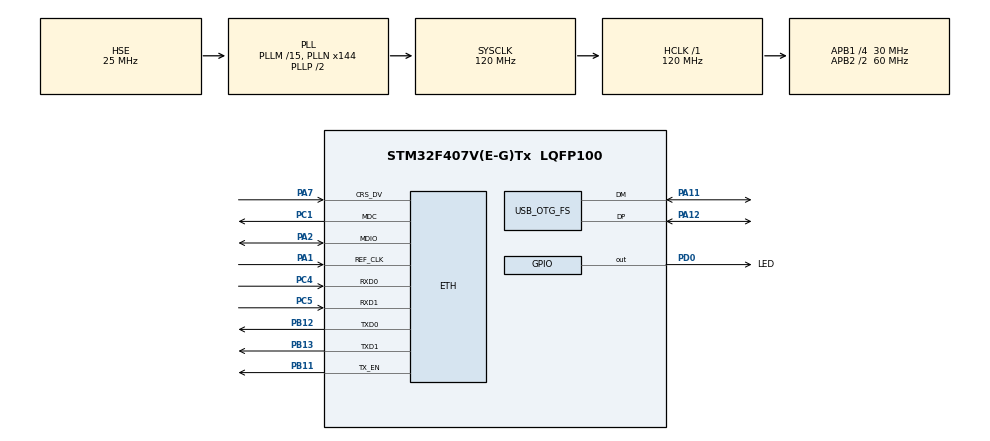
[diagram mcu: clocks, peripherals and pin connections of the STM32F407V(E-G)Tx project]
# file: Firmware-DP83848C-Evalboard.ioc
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Mcu.Family=STM32F4
ETH.AutoNegotiation=ETH_AUTONEGOTIATION_DISABLE
USB_DEVICE.CLASS_NAME_FS=CDC
PH0-OSC_IN.Signal=RCC_OSC_IN
RCC.CortexFreq_Value=120000000
PA7.Mode=RMII
TIM3.AutoReloadPreload=TIM_AUTORELOAD_PRELOAD_ENABLE
USB_DEVICE.VirtualModeFS=Cdc_FS
PC4.Signal=ETH_RXD0
ETH.MACAddr=00\:80\:E1\:00\:00\:00
ETH.Speed=ETH_SPEED_10M
PD0.GPIO_Label=LED
PA11.Mode=Device_Only
USB_DEVICE.VirtualMode-CDC_FS=Cdc
LWIP.LWIP_DHCP=1
PC5.Mode=RMII
RCC.APB1CLKDivider=RCC_HCLK_DIV4
PB11.Signal=ETH_TX_EN
PB13.Signal=ETH_TXD1
RCC.SYSCLKSource=RCC_SYSCLKSOURCE_PLLCLK
ProjectManager.StackSize=0x400
VP_LWIP_VS_Enabled.Mode=Enabled
LWIP.GATEWAY_ADDRESS=192.168.000.001
LWIP.NETMASK_ADDRESS=255.255.255.000
LWIP.LWIP_HTTPD=0
PA13.Signal=SYS_JTMS-SWDIO
PA12.Signal=USB_OTG_FS_DP
ETH.PHY_Name_RMII=DP83848_PHY_ADDRESS
PB11.Mode=RMII
ProjectManager.TargetToolchain=STM32CubeIDE
RCC.HCLKFreq_Value=120000000
VP_USB_DEVICE_VS_USB_DEVICE_CDC_FS.Mode=CDC_FS
RCC.APB2TimFreq_Value=120000000
TIM3.Period=10000
PD0.Signal=GPIO_Output
RCC.LSE_VALUE=32768
PA1.Signal=ETH_REF_CLK
RCC.AHBFreq_Value=120000000
PH0-OSC_IN.Mode=HSE-External-Oscillator
NVIC.ETH_IRQn=true\:0\:0\:false\:false\:true\:true\:true
RCC.HSE_VALUE=25000000
board=custom
RCC.VCOOutputFreq_Value=240000000
NVIC.TIM3_IRQn=true\:0\:0\:false\:false\:true\:true\:true
RCC.APB2Freq_Value=60000000
PA1.Mode=RMII
PA14.Mode=Serial_Wire
TIM3.Prescaler=6000
PH1-OSC_OUT.Signal=RCC_OSC_OUT
PA13.Mode=Serial_Wire
Mcu.Name=STM32F407V(E-G)Tx
PA2.Signal=ETH_MDIO
PH1-OSC_OUT.Mode=HSE-External-Oscillator
RCC.48MHZClocksFreq_Value=48000000
NVIC.ETH_WKUP_IRQn=true\:0\:0\:false\:false\:true\:true\:true
RCC.SYSCLKFreq_VALUE=120000000
Mcu.Package=LQFP100
ETH.MediaInterface=ETH_MEDIA_INTERFACE_RMII
PB12.Mode=RMII
PA12.Mode=Device_Only
NVIC.OTG_FS_IRQn=true\:0\:0\:false\:false\:true\:true\:true
PA11.Signal=USB_OTG_FS_DM
PA14.Signal=SYS_JTCK-SWCLK
USB_OTG_FS.VirtualMode=Device_Only
ProjectManager.HeapSize=0x200
LWIP.Version=v2.1.2_Cube
RCC.HSI_VALUE=16000000
RCC.PLLQ=5
NVIC.PriorityGroup=NVIC_PRIORITYGROUP_4
RCC.APB2CLKDivider=RCC_HCLK_DIV2
RCC.PLLM=15
RCC.PLLN=144
RCC.APB1TimFreq_Value=60000000
PA2.Mode=RMII
PC5.Signal=ETH_RXD1
PB13.Mode=RMII
TIM3.TIM_MasterOutputTrigger=TIM_TRGO_RESET
RCC.APB1Freq_Value=30000000
VP_TIM3_VS_ClockSourceINT.Mode=Internal
PC1.Signal=ETH_MDC
PB12.Signal=ETH_TXD0
PC4.Mode=RMII
LWIP.IP_ADDRESS=192.168.000.100
PC1.Mode=RMII
PA7.Signal=ETH_CRS_DV

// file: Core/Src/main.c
/* USER CODE BEGIN Header */
/**
  ******************************************************************************
  * @file           : main.c
  * @brief          : Main program body
  ******************************************************************************
  * @attention
  *
  * <h2><center>&copy; Copyright (c) 2021 STMicroelectronics.
  * All rights reserved.</center></h2>
  *
  * This software component is licensed by ST under BSD 3-Clause license,
  * the "License"; You may not use this file except in compliance with the
  * License. You may obtain a copy of the License at:
  *                        opensource.org/licenses/BSD-3-Clause
  *
  ******************************************************************************
  */
/* USER CODE END Header */
#include "main.h"
#include "lwip.h"
#include "usb_device.h"

/* USER CODE BEGIN Includes */
#include "lwip/apps/mqtt.h"
#include "usbd_cdc_if.h"

/* USER CODE END Includes */

TIM_HandleTypeDef htim3;

/* USER CODE BEGIN PV */

mqtt_client_t *client;
char txBuf[100];

/* USER CODE END PV */

void SystemClock_Config(void);
static void MX_GPIO_Init(void);
static void MX_TIM3_Init(void);

/* USER CODE BEGIN 0 */

static int inpub_id;

static void mqtt_incoming_data_cb(void *arg, const u8_t *data, u16_t len, u8_t flags)
{
  sprintf(txBuf, "Incoming publish payload with length %d, flags %u\n", len, (unsigned int)flags);
  CDC_Transmit_FS(txBuf, strlen(txBuf));

  if(flags & MQTT_DATA_FLAG_LAST) {
    /* Last fragment of payload received (or whole part if payload fits receive buffer
       See MQTT_VAR_HEADER_BUFFER_LEN)  */

    /* Call function or do action depending on reference, in this case inpub_id */
    if(inpub_id == 0) {
      /* Don't trust the publisher, check zero termination */
      if(data[len-1] == 0) {
        sprintf(txBuf, "mqtt_incoming_data_cb: %s\n", (const char *)data);
        CDC_Transmit_FS(txBuf, strlen(txBuf));
      }
    } else if(inpub_id == 1) {
      /* Call an 'A' function... */
    } else {
      sprintf(txBuf, "mqtt_incoming_data_cb: Ignoring payload...\n");
      CDC_Transmit_FS(txBuf, strlen(txBuf));
    }
  } else {
    /* Handle fragmented payload, store in buffer, write to file or whatever */
  }
}

static void mqtt_incoming_publish_cb(void *arg, const char *topic, u32_t tot_len)
{
  sprintf(txBuf, "Incoming publish at topic %s with total length %u\n", topic, (unsigned int)tot_len);
  CDC_Transmit_FS(txBuf, strlen(txBuf));

  /* Decode topic string into a user defined reference */
  if(strcmp(topic, "test") == 0) {
    inpub_id = 0;
  } else if(topic[0] == 'A') {
    /* All topics starting with 'A' might be handled at the same way */
    inpub_id = 1;
  } else {
    /* For all other topics */
    inpub_id = 2;
  }
}

static void mqtt_sub_request_cb(void *arg, err_t result)
{
  /* Just print the result code here for simplicity,
     normal behaviour would be to take some action if subscribe fails like
     notifying user, retry subscribe or disconnect from server */
  sprintf(txBuf, "Subscribe result: %d\n", result);
  CDC_Transmit_FS(txBuf, strlen(txBuf));
}

static void mqtt_connection_cb(mqtt_client_t *client, void *arg, mqtt_connection_status_t status)
{
  err_t err;
  if(status == MQTT_CONNECT_ACCEPTED) {
    sprintf(txBuf, "mqtt_connection_cb: Successfully connected\n");
	CDC_Transmit_FS(txBuf, strlen(txBuf));

    /* Setup callback for incoming publish requests */
    mqtt_set_inpub_callback(client, mqtt_incoming_publish_cb, mqtt_incoming_data_cb, arg);

    /* Subscribe to a topic named "subtopic" with QoS level 1, call mqtt_sub_request_cb with result */
    err = mqtt_subscribe(client, "moo", 1, mqtt_sub_request_cb, arg);

    if(err != ERR_OK) {
      sprintf(txBuf, "mqtt_subscribe return: %d\n", err);
      CDC_Transmit_FS(txBuf, strlen(txBuf));
    }
  } else {
    sprintf(txBuf, "mqtt_connection_cb: Disconnected, reason: %d\n", status);
	CDC_Transmit_FS(txBuf, strlen(txBuf));

    /* Its more nice to be connected, so try to reconnect */
    example_do_connect(client);
  }
}

void example_do_connect(mqtt_client_t *client)
{
  struct mqtt_connect_client_info_t ci;
  err_t err;
  ip_addr_t broker;
  IP4_ADDR(&broker ,192,168,0,21);

  /* Setup an empty client info structure */
  memset(&ci, 0, sizeof(ci));

  /* Minimal amount of information required is client identifier, so set it here */
  ci.client_id = "lwip_test";

  /* Initiate client and connect to server, if this fails immediately an error code is returned
     otherwise mqtt_connection_cb will be called with connection result after attempting
     to establish a connection with the server.
     For now MQTT version 3.1.1 is always used */

  err = mqtt_client_connect(client, &broker, 1883, mqtt_connection_cb, 0, &ci);

  /* For now just print the result code if something goes wrong */
  if(err != ERR_OK) {
    sprintf(txBuf, "mqtt_connect return %d\n", err);
	CDC_Transmit_FS(txBuf, strlen(txBuf));
  }
}

/* Called when publish is complete either with sucess or failure */
static void mqtt_pub_request_cb(void *arg, err_t result)
{
  if(result != ERR_OK) {
    sprintf(txBuf, "Publish result: %d\n", result);
    CDC_Transmit_FS(txBuf, strlen(txBuf));
  }
}

void example_publish(mqtt_client_t *client, void *arg)
{
  const char *pub_payload= "Moobert sagt moo!";
  err_t err;
  u8_t qos = 2; /* 0 1 or 2, see MQTT specification */
  u8_t retain = 0; /* No don't retain such crappy payload... */
  err = mqtt_publish(client, "test", pub_payload, strlen(pub_payload), qos, retain, mqtt_pub_request_cb, arg);
  if(err != ERR_OK) {
    printf("Publish err: %d\n", err);
  }
}

void HAL_TIM_PeriodElapsedCallback(TIM_HandleTypeDef *htim)
{
	if (htim->Instance==TIM3) {
		HAL_GPIO_TogglePin(LED_GPIO_Port, LED_Pin);
		example_do_connect(client);
		example_publish(client, NULL);
	}
}

/* USER CODE END 0 */

int main(void)
{

  /* MCU Configuration--------------------------------------------------------*/

  /* Reset of all peripherals, Initializes the Flash interface and the Systick. */
  HAL_Init();

  /* Configure the system clock */
  SystemClock_Config();

  /* Initialize all configured peripherals */
  MX_GPIO_Init();
  MX_LWIP_Init();
  MX_TIM3_Init();
  MX_USB_DEVICE_Init();
  /* USER CODE BEGIN 2 */

  HAL_TIM_Base_Start_IT(&htim3);

  client = mqtt_client_new();
  example_do_connect(client);

  /* USER CODE END 2 */

  /* Infinite loop */
  while (1)
  {

    /* USER CODE BEGIN 3 */

	  MX_LWIP_Process();

  }
  /* USER CODE END 3 */
}

void SystemClock_Config(void)
{
  RCC_OscInitTypeDef RCC_OscInitStruct = {0};
  RCC_ClkInitTypeDef RCC_ClkInitStruct = {0};

  /** Configure the main internal regulator output voltage
  */
  __HAL_RCC_PWR_CLK_ENABLE();
  __HAL_PWR_VOLTAGESCALING_CONFIG(PWR_REGULATOR_VOLTAGE_SCALE1);
  /** Initializes the RCC Oscillators according to the specified parameters
  * in the RCC_OscInitTypeDef structure.
  */
  RCC_OscInitStruct.OscillatorType = RCC_OSCILLATORTYPE_HSE;
  RCC_OscInitStruct.HSEState = RCC_HSE_ON;
  RCC_OscInitStruct.PLL.PLLState = RCC_PLL_ON;
  RCC_OscInitStruct.PLL.PLLSource = RCC_PLLSOURCE_HSE;
  RCC_OscInitStruct.PLL.PLLM = 15;
  RCC_OscInitStruct.PLL.PLLN = 144;
  RCC_OscInitStruct.PLL.PLLP = RCC_PLLP_DIV2;
  RCC_OscInitStruct.PLL.PLLQ = 5;
  if (HAL_RCC_OscConfig(&RCC_OscInitStruct) != HAL_OK)
  {
    Error_Handler();
  }
  /** Initializes the CPU, AHB and APB buses clocks
  */
  RCC_ClkInitStruct.ClockType = RCC_CLOCKTYPE_HCLK|RCC_CLOCKTYPE_SYSCLK
                              |RCC_CLOCKTYPE_PCLK1|RCC_CLOCKTYPE_PCLK2;
  RCC_ClkInitStruct.SYSCLKSource = RCC_SYSCLKSOURCE_PLLCLK;
  RCC_ClkInitStruct.AHBCLKDivider = RCC_SYSCLK_DIV1;
  RCC_ClkInitStruct.APB1CLKDivider = RCC_HCLK_DIV4;
  RCC_ClkInitStruct.APB2CLKDivider = RCC_HCLK_DIV2;

  if (HAL_RCC_ClockConfig(&RCC_ClkInitStruct, FLASH_LATENCY_3) != HAL_OK)
  {
    Error_Handler();
  }
}

static void MX_TIM3_Init(void)
{

  TIM_ClockConfigTypeDef sClockSourceConfig = {0};
  TIM_MasterConfigTypeDef sMasterConfig = {0};

  htim3.Instance = TIM3;
  htim3.Init.Prescaler = 6000;
  htim3.Init.CounterMode = TIM_COUNTERMODE_UP;
  htim3.Init.Period = 10000;
  htim3.Init.ClockDivision = TIM_CLOCKDIVISION_DIV1;
  htim3.Init.AutoReloadPreload = TIM_AUTORELOAD_PRELOAD_ENABLE;
  if (HAL_TIM_Base_Init(&htim3) != HAL_OK)
  {
    Error_Handler();
  }
  sClockSourceConfig.ClockSource = TIM_CLOCKSOURCE_INTERNAL;
  if (HAL_TIM_ConfigClockSource(&htim3, &sClockSourceConfig) != HAL_OK)
  {
    Error_Handler();
  }
  sMasterConfig.MasterOutputTrigger = TIM_TRGO_RESET;
  sMasterConfig.MasterSlaveMode = TIM_MASTERSLAVEMODE_DISABLE;
  if (HAL_TIMEx_MasterConfigSynchronization(&htim3, &sMasterConfig) != HAL_OK)
  {
    Error_Handler();
  }

}

static void MX_GPIO_Init(void)
{
  GPIO_InitTypeDef GPIO_InitStruct = {0};

  /* GPIO Ports Clock Enable */
  __HAL_RCC_GPIOH_CLK_ENABLE();
  __HAL_RCC_GPIOC_CLK_ENABLE();
  __HAL_RCC_GPIOA_CLK_ENABLE();
  __HAL_RCC_GPIOB_CLK_ENABLE();
  __HAL_RCC_GPIOD_CLK_ENABLE();

  /*Configure GPIO pin Output Level */
  HAL_GPIO_WritePin(LED_GPIO_Port, LED_Pin, GPIO_PIN_RESET);

  /*Configure GPIO pin : LED_Pin */
  GPIO_InitStruct.Pin = LED_Pin;
  GPIO_InitStruct.Mode = GPIO_MODE_OUTPUT_PP;
  GPIO_InitStruct.Pull = GPIO_NOPULL;
  GPIO_InitStruct.Speed = GPIO_SPEED_FREQ_LOW;
  HAL_GPIO_Init(LED_GPIO_Port, &GPIO_InitStruct);

}

void Error_Handler(void)
{
  __disable_irq();
  while (1)
  {
  }
}

/************************ (C) COPYRIGHT STMicroelectronics *****END OF FILE****/
